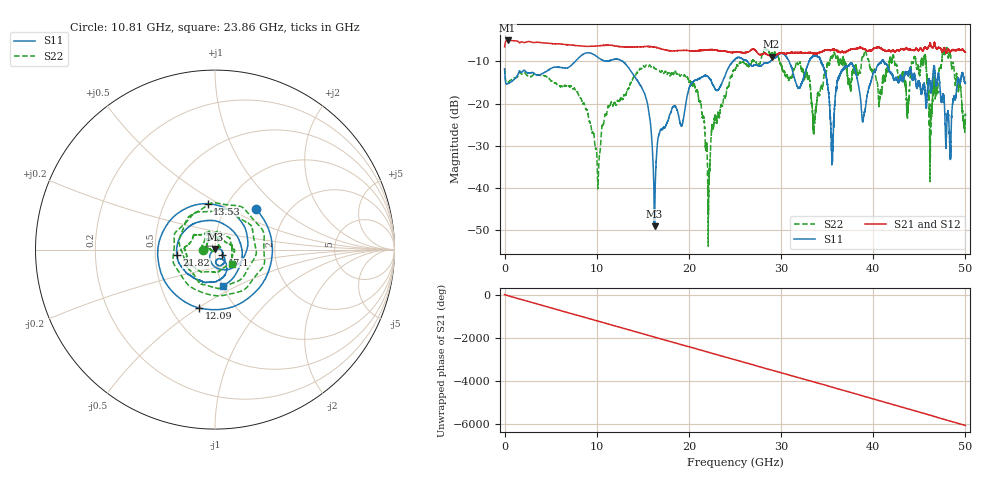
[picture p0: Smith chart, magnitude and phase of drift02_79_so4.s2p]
!Created with skrf (http://scikit-rf.org).
# Hz S RI R 50.0
!freq ReS11 ImS11 ReS21 ImS21 ReS12 ImS12 ReS22 ImS22
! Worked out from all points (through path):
!   10001 points, 300 kHz to 50 GHz, reference 50 ohm
!   highest |S21| = -5.04 dB at 325.3 MHz (marker M1); lowest = -8.9 dB at 28.98 GHz (marker M2)
!   group delay of S21, straight-line fit = 336 ps
!   lowest |S11| = -49.1 dB at 16.27 GHz (marker M3), VSWR 1.01, Z = 49.9 + j0.323 ohm
!   |S11| at or under -10 dB: start of sweep to 7.669 GHz; 12.81 GHz to 24.78 GHz (11.97 GHz wide, 63.7 % of centre); 41.15 GHz to end of sweep (the widest 3 of 9)
!   |S22| runs from -53.8 to -6.7 dB; largest |S21 - S12| = 0.029
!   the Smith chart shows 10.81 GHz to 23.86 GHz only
!   S11 on the Smith chart (normalised r, x): 10.81 GHz: 1.38, +0.70; 12.09 GHz: 0.69, -0.51; 13.53 GHz: 0.81, +0.45; 17.1 GHz: 1.08, -0.06; 21.82 GHz: 0.65, -0.04; 23.86 GHz: 1.01, -0.42
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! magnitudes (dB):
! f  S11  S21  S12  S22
! 300 kHz  -11.7  -6.6  -6.5  -11.7
! 325.3 MHz  -15.3  -5.0  -5.0  -15.1
! 8.335 GHz  -8.6  -6.4  -6.4  -19.0
! 10.1 GHz  -9.0  -6.3  -6.3  -39.1
! 10.81 GHz  -9.8  -6.2  -6.2  -23.7
! 12.09 GHz  -9.4  -6.4  -6.4  -20.4
! 13.53 GHz  -11.7  -6.6  -6.6  -16.1
! 16.27 GHz  -49.1  -6.6  -6.6  -11.7
! 16.67 GHz  -27.9  -6.8  -6.8  -12.1
! 17.1 GHz  -26.1  -7.1  -7.1  -12.3
! 21.82 GHz  -13.3  -7.3  -7.3  -30.9
! 23.86 GHz  -13.7  -7.6  -7.6  -18.2
! 25 GHz  -9.6  -7.8  -7.8  -12.0
! 28.98 GHz  -9.8  -8.9  -8.8  -8.0
! 33.34 GHz  -9.1  -8.0  -8.0  -20.0
! 35.55 GHz  -33.1  -7.3  -7.2  -9.2
! 36.78 GHz  -11.9  -7.9  -7.9  -9.7
! 41.67 GHz  -11.9  -7.3  -7.5  -11.8
! 45.49 GHz  -15.6  -7.1  -7.0  -9.7
! 46.25 GHz  -17.5  -6.1  -6.1  -22.9
! 48.13 GHz  -22.3  -7.1  -7.1  -9.0
! 50 GHz  -15.1  -7.8  -7.8  -22.9
